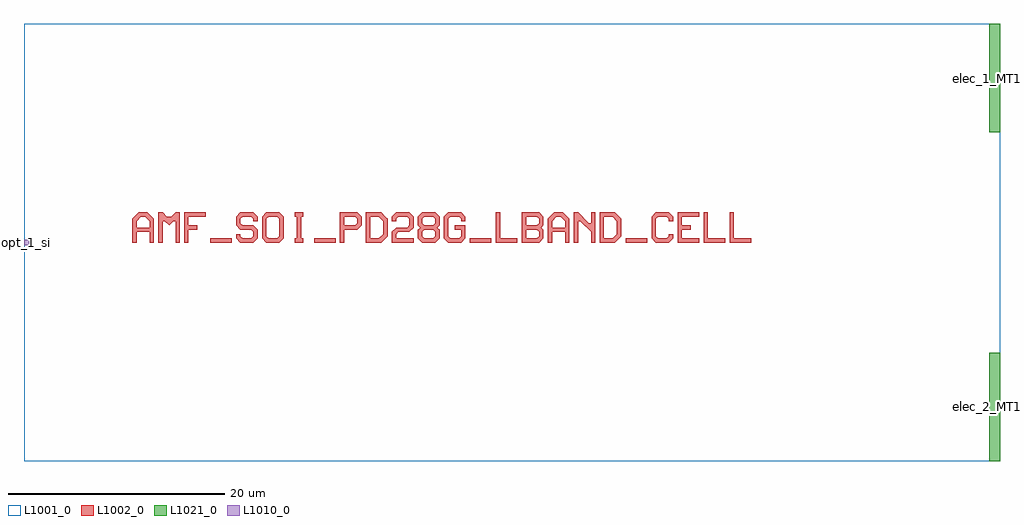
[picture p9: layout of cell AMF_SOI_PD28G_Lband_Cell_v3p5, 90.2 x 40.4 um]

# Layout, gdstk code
import gdstk
lib = gdstk.Library(unit=1e-6, precision=1e-09)
def R(c, l, rs):  # rectangles x0, y0, x1, y1
    for r in rs: c.add(gdstk.rectangle(r[:2], r[2:], *l))
def A(c, l, x, y, w, h, nx, ny, dx, dy):  # array of equal rectangles
    R(c, l, [(x+i*dx, y+j*dy, x+i*dx+w, y+j*dy+h) for i in range(nx) for j in range(ny)])
def P(c, l, *ps):  # polygons
    for p in ps: c.add(gdstk.Polygon(p, *l))
L1001_0 = (1001, 0)
L1002_0 = (1002, 0)
L1010_0 = (1010, 0)
L1021_0 = (1021, 0)

amf_soi_pd28g_lband_cell = lib.new_cell('AMF_SOI_PD28G_Lband_Cell_v3p5')
R(amf_soi_pd28g_lband_cell, L1001_0, [(0,-20.2,90.2,20.2)])
A(amf_soi_pd28g_lband_cell, L1002_0, 26.802, -0.021, 2, 0.4, 3, 1, 14.4, 0)
R(amf_soi_pd28g_lband_cell, L1002_0, [(17.202,-0.021,19.202,0.379)])
P(amf_soi_pd28g_lband_cell, L1002_0, [(10.002,-0.021),(10.002,2.179),(10.602,2.779),(11.402,2.779),(11.802,2.379),(10.802,2.379),(10.402,1.979),(10.402,1.379),(11.602,1.379),(11.602,1.979),(11.202,2.379),(11.802,2.379),(12.002,2.179),(12.002,-0.021),(11.602,-0.021),(11.602,0.979),(10.402,0.979),(10.402,-0.021)],
  [(12.402,-0.021),(12.402,2.779),(12.802,2.779),(13.202,2.379),(13.602,2.379),(14.002,2.779),(14.402,2.779),(14.402,-0.021),(14.002,-0.021),(14.002,1.979),(13.802,1.979),(13.402,1.579),(13.002,1.979),(12.802,1.979),(12.802,-0.021)],
  [(14.802,-0.021),(14.802,2.779),(16.802,2.779),(16.802,2.379),(15.202,2.379),(15.202,1.579),(16.002,1.579),(16.002,1.179),(15.202,1.179),(15.202,-0.021)],
  [(20.002,-0.021),(19.602,0.379),(19.602,0.779),(20.002,0.779),(20.002,0.579),(20.202,0.379),(21.002,0.379),(21.202,0.579),(21.202,0.979),(21.002,1.179),(20.002,1.179),(19.602,1.579),(19.602,2.379),(20.002,2.779),(21.202,2.779),(21.602,2.379),(21.602,1.979),(21.202,1.979),(21.202,2.179),(21.002,2.379),(20.202,2.379),(20.002,2.179),(20.002,1.779),(20.202,1.579),(21.202,1.579),(21.602,1.179),(21.602,0.379),(21.202,-0.021)],
  [(22.402,-0.021),(22.002,0.379),(22.002,2.379),(22.402,2.779),(23.602,2.779),(24.002,2.379),(24.002,1.379),(23.602,1.379),(23.602,2.179),(23.402,2.379),(22.602,2.379),(22.402,2.179),(22.402,0.579),(22.602,0.379),(23.402,0.379),(23.602,0.579),(23.602,1.379),(24.002,1.379),(24.002,0.379),(23.602,-0.021)],
  [(25.002,-0.021),(25.002,0.379),(25.202,0.379),(25.202,2.379),(25.002,2.379),(25.002,2.779),(25.802,2.779),(25.802,2.379),(25.602,2.379),(25.602,0.379),(25.802,0.379),(25.802,-0.021)],
  [(29.202,-0.021),(29.202,2.779),(30.802,2.779),(31.202,2.379),(31.202,1.579),(30.802,1.179),(29.602,1.179),(29.602,1.579),(30.602,1.579),(30.802,1.779),(30.802,2.179),(30.602,2.379),(29.602,2.379),(29.602,-0.021)],
  [(31.602,-0.021),(31.602,2.779),(33.002,2.779),(33.402,2.379),(32.002,2.379),(32.002,0.379),(32.802,0.379),(33.202,0.779),(33.202,1.979),(32.802,2.379),(33.402,2.379),(33.602,2.179),(33.602,0.579),(33.002,-0.021)],
  [(34.002,-0.021),(34.002,0.979),(34.402,1.379),(35.402,1.379),(35.602,1.579),(35.602,2.179),(35.402,2.379),(34.602,2.379),(34.402,2.179),(34.402,1.979),(34.002,1.979),(34.002,2.379),(34.402,2.779),(35.602,2.779),(36.002,2.379),(36.002,1.379),(35.602,0.979),(34.602,0.979),(34.402,0.779),(34.402,0.379),(36.002,0.379),(36.002,-0.021)],
  [(36.802,-0.021),(36.402,0.379),(36.402,1.179),(36.602,1.379),(36.402,1.579),(36.402,2.379),(36.802,2.779),(38.002,2.779),(38.402,2.379),(37.002,2.379),(36.802,2.179),(36.802,1.779),(37.002,1.579),(37.802,1.579),(38.002,1.779),(38.002,2.179),(37.802,2.379),(38.402,2.379),(38.402,1.579),(38.202,1.379),(38.402,1.179),(37.002,1.179),(36.802,0.979),(36.802,0.579),(37.002,0.379),(37.802,0.379),(38.002,0.579),(38.002,0.979),(37.802,1.179),(38.402,1.179),(38.402,0.379),(38.002,-0.021)],
  [(39.202,-0.021),(38.802,0.379),(38.802,2.379),(39.202,2.779),(40.402,2.779),(40.802,2.379),(40.802,1.979),(40.402,1.979),(40.402,2.179),(40.202,2.379),(39.402,2.379),(39.202,2.179),(39.202,0.579),(39.402,0.379),(40.202,0.379),(40.402,0.579),(40.402,1.179),(39.802,1.179),(39.802,1.579),(40.802,1.579),(40.802,0.379),(40.402,-0.021)],
  [(43.602,-0.021),(43.602,2.779),(44.002,2.779),(44.002,0.379),(45.602,0.379),(45.602,-0.021)],
  [(46.002,-0.021),(46.002,2.779),(47.602,2.779),(48.002,2.379),(46.402,2.379),(46.402,1.579),(47.402,1.579),(47.602,1.779),(47.602,2.179),(47.402,2.379),(48.002,2.379),(48.002,1.579),(47.802,1.379),(48.002,1.179),(46.402,1.179),(46.402,0.379),(47.402,0.379),(47.602,0.579),(47.602,0.979),(47.402,1.179),(48.002,1.179),(48.002,0.379),(47.602,-0.021)],
  [(48.402,-0.021),(48.402,2.179),(49.002,2.779),(49.802,2.779),(50.202,2.379),(49.202,2.379),(48.802,1.979),(48.802,1.379),(50.002,1.379),(50.002,1.979),(49.602,2.379),(50.202,2.379),(50.402,2.179),(50.402,-0.021),(50.002,-0.021),(50.002,0.979),(48.802,0.979),(48.802,-0.021)],
  [(50.802,-0.021),(50.802,2.779),(51.202,2.779),(52.202,1.779),(52.402,1.779),(52.402,2.779),(52.802,2.779),(52.802,-0.021),(52.402,-0.021),(52.402,0.979),(51.402,1.979),(51.202,1.979),(51.202,-0.021)],
  [(53.202,-0.021),(53.202,2.779),(54.602,2.779),(55.002,2.379),(53.602,2.379),(53.602,0.379),(54.402,0.379),(54.802,0.779),(54.802,1.979),(54.402,2.379),(55.002,2.379),(55.202,2.179),(55.202,0.579),(54.602,-0.021)],
  [(58.402,-0.021),(58.002,0.379),(58.002,2.379),(58.402,2.779),(59.602,2.779),(60.002,2.379),(60.002,1.979),(59.602,1.979),(59.602,2.179),(59.402,2.379),(58.602,2.379),(58.402,2.179),(58.402,0.579),(58.602,0.379),(59.402,0.379),(59.602,0.579),(59.602,0.779),(60.002,0.779),(60.002,0.379),(59.602,-0.021)],
  [(60.402,-0.021),(60.402,2.779),(62.402,2.779),(62.402,2.379),(60.802,2.379),(60.802,1.579),(61.602,1.579),(61.602,1.179),(60.802,1.179),(60.802,0.379),(62.402,0.379),(62.402,-0.021)],
  [(62.802,-0.021),(62.802,2.779),(63.202,2.779),(63.202,0.379),(64.802,0.379),(64.802,-0.021)],
  [(65.202,-0.021),(65.202,2.779),(65.602,2.779),(65.602,0.379),(67.202,0.379),(67.202,-0.021)])
R(amf_soi_pd28g_lband_cell, L1010_0, [(0,-0.25,0.5,0.25)])
R(amf_soi_pd28g_lband_cell, L1021_0, [(89.2,-20.2,90.2,-10.2), (89.2,10.2,90.2,20.2)])
amf_soi_pd28g_lband_cell.add(gdstk.Label('opt_1_si', (0,0), layer=1010, texttype=0))
amf_soi_pd28g_lband_cell.add(gdstk.Label('elec_1_MT1', (90.2,15.2), layer=1021, texttype=0))
amf_soi_pd28g_lband_cell.add(gdstk.Label('elec_2_MT1', (90.2,-15.2), layer=1021, texttype=0))

lib.write_gds('AMF_SOI_PD28G_Lband_Cell_v3p5.gds')
